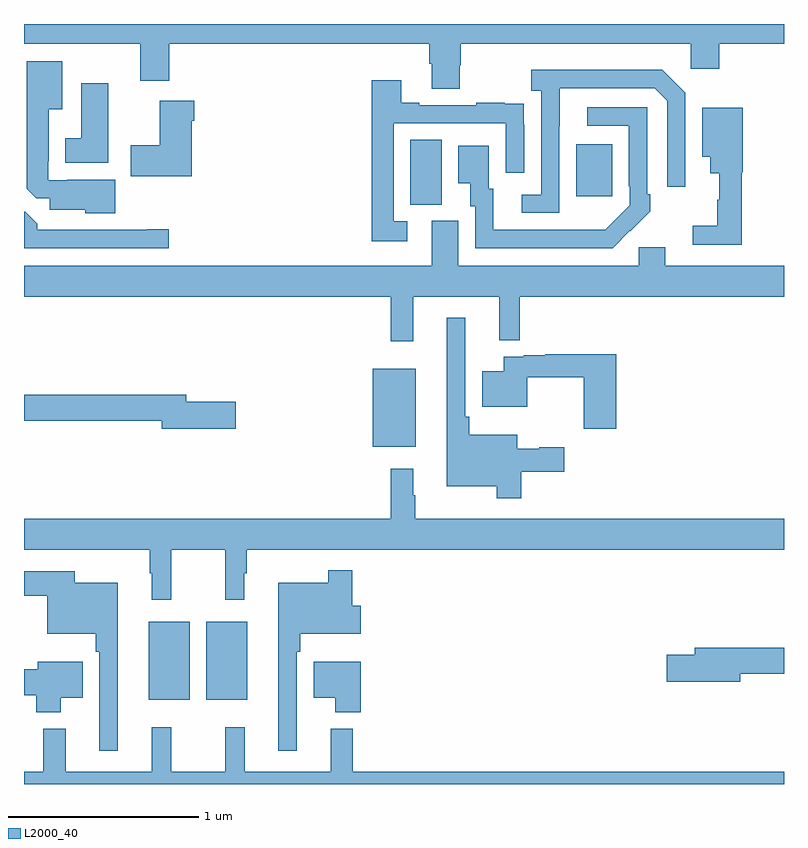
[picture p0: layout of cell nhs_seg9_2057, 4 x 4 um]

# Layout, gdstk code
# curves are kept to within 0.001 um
import gdstk
lib = gdstk.Library(unit=1e-6, precision=1e-09)
def R(c, l, rs):  # rectangles x0, y0, x1, y1
    for r in rs: c.add(gdstk.rectangle(r[:2], r[2:], *l))
def P(c, l, *ps):  # polygons
    for p in ps: c.add(gdstk.Polygon(p, *l))
L2000_40 = (2000, 40)

nhs_seg9_2057 = lib.new_cell('nhs_seg9_2057')
R(nhs_seg9_2057, L2000_40, [(227.657,1216.943,227.872,1217.353), (227.96,1216.943,228.175,1217.353), (228.836,1218.275,229.063,1218.685), (229.034,1219.549,229.198,1219.892), (229.907,1219.593,230.095,1219.867)])
P(nhs_seg9_2057, L2000_40, [(229.293,1220.283),(229.298,1220.283),(229.298,1220.396),(230.508,1220.396),(230.508,1220.265),(230.66,1220.265),(230.66,1220.396),(231,1220.396),(231,1220.5),(227,1220.5),(227,1220.396),(227.612,1220.396),(227.612,1220.202),(227.765,1220.202),(227.765,1220.396),(229.133,1220.396),(229.133,1220.29),(229.145,1220.29),(229.145,1220.158),(229.293,1220.158)],
  [(227.479,1219.681),(227.227,1219.681),(227.227,1219.677),(227.127,1219.677),(227.127,1219.777),(227.131,1219.777),(227.131,1220.051),(227.2,1220.051),(227.2,1220.305),(227.015,1220.305),(227.015,1219.633),(227.064,1219.584),(227.135,1219.584),(227.135,1219.523),(227.322,1219.523),(227.322,1219.505),(227.479,1219.505)],
  [(229.818,1219.963),(229.819,1220.163),(230.319,1220.163),(230.385,1220.097),(230.385,1219.644),(230.481,1219.644),(230.481,1220.139),(230.36,1220.26),(229.671,1220.26),(229.671,1220.15),(229.722,1220.15),(229.722,1219.602),(229.62,1219.602),(229.62,1219.506),(229.818,1219.506)],
  [(229.018,1219.461),(228.945,1219.461),(228.945,1219.977),(229.536,1219.977),(229.536,1219.716),(229.632,1219.716),(229.632,1219.97),(229.631,1219.97),(229.631,1220.079),(229.529,1220.079),(229.529,1220.086),(229.381,1220.086),(229.381,1220.073),(229.081,1220.073),(229.081,1220.086),(228.985,1220.086),(228.985,1220.203),(228.829,1220.203),(228.829,1219.356),(229.018,1219.356)],
  [(227.443,1220.188),(227.3,1220.188),(227.3,1219.9),(227.216,1219.9),(227.216,1219.769),(227.443,1219.769)],
  [(227.884,1219.991),(227.897,1219.991),(227.897,1220.095),(227.714,1220.095),(227.714,1219.863),(227.562,1219.863),(227.562,1219.7),(227.884,1219.7)],
  [(230.189,1219.411),(230.19,1219.41),(230.295,1219.515),(230.295,1219.603),(230.28,1219.603),(230.28,1220.061),(229.965,1220.061),(229.965,1219.965),(230.184,1219.965),(230.184,1219.645),(230.187,1219.645),(230.187,1219.545),(230.059,1219.417),(229.471,1219.416),(229.471,1219.632),(229.447,1219.632),(229.447,1219.858),(229.286,1219.858),(229.286,1219.661),(229.349,1219.661),(229.349,1219.542),(229.374,1219.542),(229.374,1219.32),(230.098,1219.32)],
  [(230.777,1219.719),(230.783,1219.719),(230.783,1220.059),(230.57,1220.059),(230.57,1219.802),(230.612,1219.802),(230.612,1219.715),(230.66,1219.715),(230.66,1219.575),(230.649,1219.575),(230.649,1219.439),(230.52,1219.439),(230.52,1219.338),(230.777,1219.338)],
  [(227.761,1219.421),(227.648,1219.421),(227.648,1219.416),(227.069,1219.416),(227.069,1219.45),(227.007,1219.512),(227,1219.512),(227,1219.32),(227.761,1219.32)],
  [(229.049,1219.064),(229.502,1219.064),(229.502,1218.835),(229.61,1218.835),(229.61,1219.064),(231,1219.064),(231,1219.228),(230.374,1219.228),(230.374,1219.326),(230.235,1219.326),(230.235,1219.228),(229.285,1219.228),(229.285,1219.464),(229.145,1219.464),(229.145,1219.228),(227,1219.228),(227,1219.064),(228.931,1219.064),(228.931,1218.831),(229.049,1218.831)],
  [(229.616,1218.143),(229.843,1218.143),(229.843,1218.273),(229.712,1218.273),(229.712,1218.265),(229.597,1218.265),(229.597,1218.337),(229.343,1218.337),(229.343,1218.433),(229.323,1218.433),(229.323,1218.955),(229.226,1218.955),(229.226,1218.068),(229.488,1218.068),(229.488,1218.003),(229.616,1218.003)],
  [(230.117,1218.763),(229.744,1218.763),(229.744,1218.756),(229.63,1218.756),(229.63,1218.75),(229.526,1218.75),(229.526,1218.673),(229.412,1218.673),(229.412,1218.485),(229.648,1218.485),(229.648,1218.642),(229.946,1218.642),(229.946,1218.369),(230.117,1218.369)],
  [(228.115,1218.512),(227.854,1218.512),(227.854,1218.548),(227,1218.548),(227,1218.412),(227.726,1218.412),(227.726,1218.37),(228.115,1218.37)],
  [(227.774,1217.732),(228.058,1217.732),(228.058,1217.469),(228.16,1217.469),(228.16,1217.609),(228.172,1217.609),(228.172,1217.732),(231,1217.732),(231,1217.896),(229.06,1217.896),(229.06,1218.02),(229.048,1218.02),(229.048,1218.16),(228.931,1218.16),(228.931,1217.896),(227,1217.896),(227,1217.732),(227.661,1217.732),(227.661,1217.609),(227.672,1217.609),(227.672,1217.469),(227.774,1217.469)],
  [(228.435,1217.195),(228.455,1217.195),(228.455,1217.291),(228.772,1217.291),(228.772,1217.439),(228.728,1217.439),(228.728,1217.626),(228.6,1217.626),(228.6,1217.56),(228.338,1217.56),(228.338,1216.674),(228.435,1216.674)],
  [(227.494,1217.56),(227.266,1217.56),(227.266,1217.62),(227,1217.62),(227,1217.491),(227.123,1217.491),(227.123,1217.291),(227.377,1217.291),(227.377,1217.195),(227.397,1217.195),(227.397,1216.674),(227.494,1216.674)],
  [(230.77,1217.08),(231,1217.08),(231,1217.216),(230.531,1217.216),(230.531,1217.18),(230.382,1217.18),(230.382,1217.038),(230.77,1217.038)],
  [(228.773,1217.143),(228.524,1217.143),(228.524,1216.955),(228.638,1216.955),(228.638,1216.877),(228.773,1216.877)],
  [(227.194,1216.955),(227.308,1216.955),(227.308,1217.143),(227.072,1217.143),(227.072,1217.103),(227,1217.103),(227,1216.966),(227.065,1216.966),(227.065,1216.877),(227.194,1216.877)],
  [(231,1216.564),(228.731,1216.564),(228.731,1216.792),(228.614,1216.792),(228.614,1216.564),(228.161,1216.564),(228.161,1216.798),(228.058,1216.798),(228.058,1216.564),(227.774,1216.564),(227.774,1216.798),(227.672,1216.798),(227.672,1216.564),(227.219,1216.564),(227.219,1216.792),(227.101,1216.792),(227.101,1216.564),(227,1216.564),(227,1216.5),(231,1216.5)])

lib.write_gds('nhs_seg9_2057.gds')
